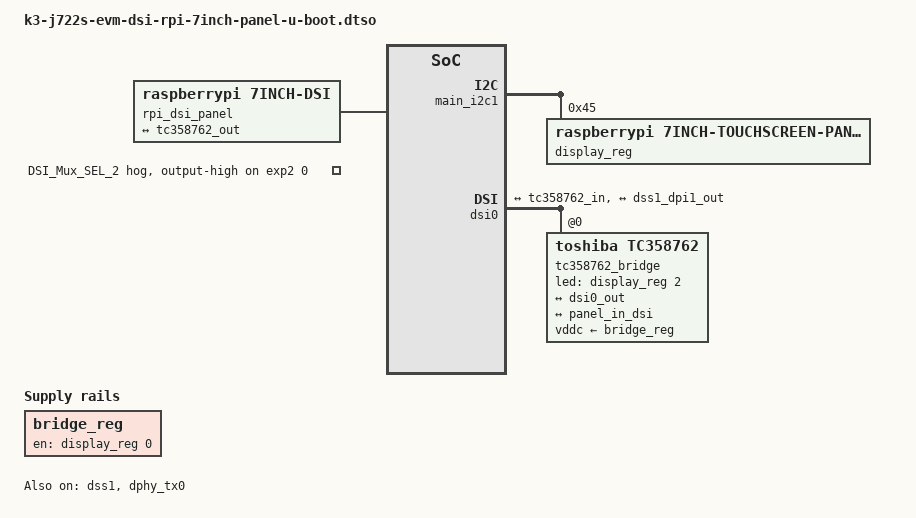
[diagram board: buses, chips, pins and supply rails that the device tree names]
// SPDX-License-Identifier: GPL-2.0
/*
 * Raspberry Pi 7-inch DSI panel U-Boot overlay for J722S EVM
 * Copyright (C) 2026 Texas Instruments Incorporated - https://www.ti.com/
 */

/ {
	bridge_reg: bridge-regulator {
		bootph-all;
		compatible = "regulator-fixed";
		regulator-name = "bridge-reg";
		gpio = <&display_reg 0 0>;
		enable-active-high;
	};

	rpi_dsi_panel: panel-dsi {
		bootph-all;
		compatible = "raspberrypi,7inch-dsi", "simple-panel";
		status = "okay";

		ports {
			bootph-all;
			#address-cells = <1>;
			#size-cells = <0>;

			port@0 {
				bootph-all;
				reg = <0>;
				panel_in_dsi: endpoint {
					bootph-all;
					remote-endpoint = <&tc358762_out>;
				};
			};
		};

		display-timings {
			bootph-all;
			timing0: timing@0 {
				bootph-all;
				clock-frequency = <28569>;
				hactive = <800>;
				vactive = <480>;
				hback-porch = <80>;
				hfront-porch = <48>;
				hsync-len = <32>;
				vback-porch = <6>;
				vfront-porch = <3>;
				vsync-len = <7>;
				hsync-active = <0>;
				vsync-active = <0>;
			};
		};
	};
};

&main_i2c1 {
	bootph-all;

	display_reg: regulator@45 {
		bootph-all;
		compatible = "raspberrypi,7inch-touchscreen-panel-regulator";
		reg = <0x45>;
		gpio-controller;
		#gpio-cells = <2>;
	};
};

/* tidss dss1: UCLASS_VIDEO entry point for the DSI pipeline */
&dss1 {
	bootph-all;
	status = "okay";
	/delete-property/ pinctrl-names;
	/delete-property/ pinctrl-0;
};

&dss1_ports {
	bootph-all;

	/* VP1: DSI output to dsi0 */
	port@1 {
		bootph-all;
		reg = <1>;
		dss1_dpi1_out: endpoint {
			bootph-all;
			remote-endpoint = <&dsi0_in>;
		};
	};
};

&exp2 {
	bootph-all;
	p00-hog {
		bootph-all;
		gpio-hog;
		gpios = <0 GPIO_ACTIVE_HIGH>;
		output-high;
		line-name = "DSI_Mux_SEL_2";
	};
};

&dsi_edp_bridge {
	status = "disabled";
};

&dphy_tx0 {
	bootph-all;
	status = "okay";
};

&dsi0 {
	bootph-all;
	status = "okay";
	#address-cells = <1>;
	#size-cells = <0>;

	ports {
		bootph-all;
		#address-cells = <1>;
		#size-cells = <0>;

		port@0 {
			bootph-all;
			reg = <0>;
			dsi0_out: endpoint {
				bootph-all;
				remote-endpoint = <&tc358762_in>;
			};
		};

		port@1 {
			bootph-all;
			reg = <1>;
			dsi0_in: endpoint {
				bootph-all;
				remote-endpoint = <&dss1_dpi1_out>;
			};
		};
	};

	tc358762_bridge: bridge@0 {
		bootph-all;
		compatible = "toshiba,tc358762";
		reg = <0>;
		vddc-supply = <&bridge_reg>;
		led-gpios = <&display_reg 2 0>;

		ports {
			bootph-all;
			#address-cells = <1>;
			#size-cells = <0>;

			port@0 {
				bootph-all;
				reg = <0>;
				tc358762_in: endpoint {
					bootph-all;
					remote-endpoint = <&dsi0_out>;
				};
			};

			port@1 {
				bootph-all;
				reg = <1>;
				tc358762_out: endpoint {
					bootph-all;
					remote-endpoint = <&panel_in_dsi>;
				};
			};
		};
	};
};
